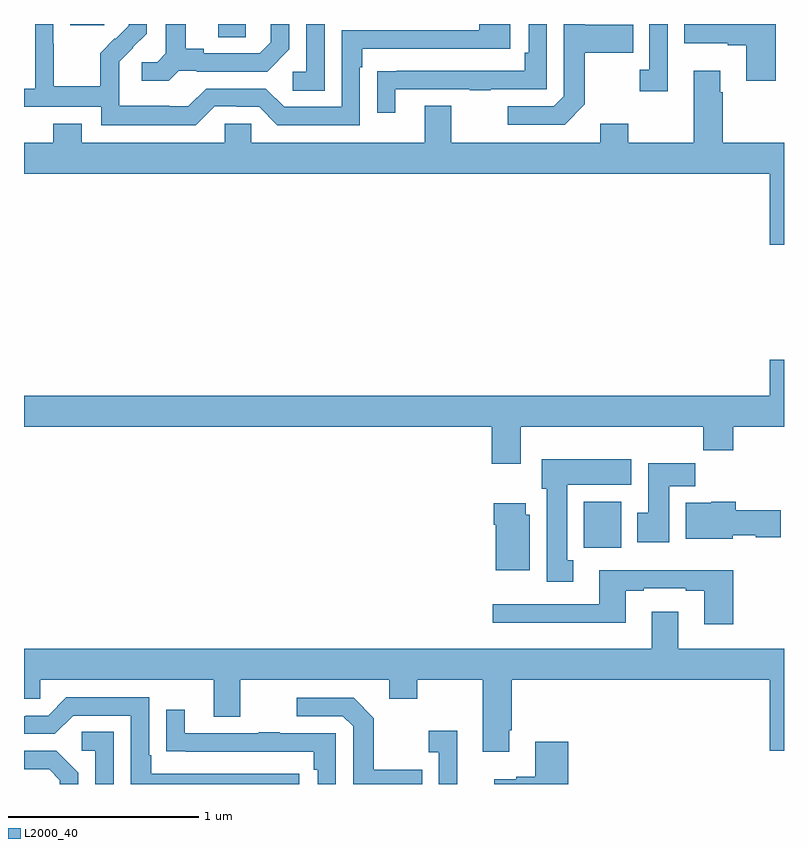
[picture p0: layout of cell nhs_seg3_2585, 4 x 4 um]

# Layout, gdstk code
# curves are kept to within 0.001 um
import gdstk
lib = gdstk.Library(unit=1e-6, precision=1e-09)
def R(c, l, rs):  # rectangles x0, y0, x1, y1
    for r in rs: c.add(gdstk.rectangle(r[:2], r[2:], *l))
def P(c, l, *ps):  # polygons
    for p in ps: c.add(gdstk.Polygon(p, *l))
L2000_40 = (2000, 40)

nhs_seg3_2585 = lib.new_cell('nhs_seg3_2585')
R(nhs_seg3_2585, L2000_40, [(247.946,669.644,248.143,669.886), (246.023,672.331,246.168,672.4), (245.243,672.393,245.422,672.4)])
P(nhs_seg3_2585, L2000_40, [(248.956,672.4),(248.475,672.4),(248.475,672.299),(248.705,672.299),(248.705,672.287),(248.801,672.287),(248.801,672.102),(248.956,672.102)],
  [(248.388,672.4),(248.292,672.4),(248.292,672.158),(248.241,672.158),(248.241,672.045),(248.388,672.045)],
  [(247.951,671.977),(247.951,672.25),(248.207,672.25),(248.207,672.397),(247.951,672.397),(247.951,672.4),(247.842,672.4),(247.842,672.021),(247.788,671.967),(247.545,671.967),(247.545,671.871),(247.845,671.871)],
  [(246.955,672.057),(247.345,672.057),(247.345,672.052),(247.457,672.052),(247.457,672.057),(247.752,672.057),(247.752,672.4),(247.656,672.4),(247.656,672.25),(247.636,672.25),(247.636,672.153),(246.961,672.153),(246.961,672.152),(246.859,672.152),(246.859,671.934),(246.955,671.934)],
  [(245.814,672.153),(245.908,672.153),(245.908,672.15),(246.28,672.15),(246.396,672.266),(246.396,672.4),(246.299,672.4),(246.299,672.303),(246.242,672.246),(245.947,672.246),(245.947,672.269),(245.851,672.269),(245.851,672.4),(245.747,672.4),(245.747,672.245),(245.7,672.198),(245.619,672.198),(245.619,672.101),(245.762,672.101)],
  [(246.003,671.967),(246.119,671.967),(246.119,671.964),(246.237,671.964),(246.333,671.868),(246.768,671.868),(246.768,672.173),(246.781,672.173),(246.781,672.27),(247.558,672.27),(247.558,672.4),(247.397,672.4),(247.397,672.366),(246.672,672.366),(246.672,671.964),(246.369,671.964),(246.273,672.06),(245.958,672.06),(245.865,671.967),(245.765,671.967),(245.765,671.971),(245.502,671.971),(245.502,672.105),(245.5,672.105),(245.5,672.202),(245.646,672.35),(245.646,672.4),(245.552,672.4),(245.552,672.392),(245.481,672.321),(245.478,672.324),(245.401,672.247),(245.401,672.073),(245.157,672.073),(245.157,672.296),(245.154,672.296),(245.154,672.4),(245.058,672.4),(245.058,672.06),(245,672.06),(245,671.964),(245.406,671.964),(245.406,671.867),(245.903,671.867)],
  [(246.582,672.4),(246.486,672.4),(246.486,672.15),(246.414,672.15),(246.414,672.049),(246.582,672.049)],
  [(249,671.776),(248.678,671.776),(248.678,672.041),(248.665,672.041),(248.665,672.154),(248.525,672.154),(248.525,671.776),(248.181,671.776),(248.181,671.875),(248.033,671.875),(248.033,671.776),(247.249,671.776),(247.249,671.971),(247.109,671.971),(247.109,671.776),(246.195,671.776),(246.195,671.874),(246.057,671.874),(246.057,671.776),(245.305,671.776),(245.305,671.875),(245.153,671.875),(245.153,671.776),(245,671.776),(245,671.612),(248.924,671.612),(248.924,671.238),(249,671.238)],
  [(245,670.28),(247.463,670.28),(247.463,670.086),(247.615,670.086),(247.615,670.28),(248.575,670.28),(248.575,670.156),(248.732,670.156),(248.732,670.28),(249,670.28),(249,670.633),(248.924,670.633),(248.924,670.444),(245,670.444)],
  [(247.891,669.578),(247.858,669.578),(247.858,669.974),(248.197,669.974),(248.197,670.108),(247.724,670.108),(247.724,669.954),(247.751,669.954),(247.751,669.465),(247.891,669.465)],
  [(248.395,669.968),(248.534,669.968),(248.534,670.087),(248.285,670.087),(248.285,669.828),(248.228,669.828),(248.228,669.672),(248.395,669.672)],
  [(248.73,669.71),(248.85,669.71),(248.85,669.698),(248.983,669.698),(248.983,669.84),(248.747,669.84),(248.747,669.886),(248.616,669.886),(248.616,669.88),(248.483,669.88),(248.483,669.692),(248.73,669.692)],
  [(247.663,669.816),(247.642,669.816),(247.642,669.877),(247.472,669.877),(247.472,669.764),(247.484,669.764),(247.484,669.524),(247.663,669.524)],
  [(248.732,669.526),(248.027,669.526),(248.027,669.345),(247.467,669.345),(247.467,669.248),(248.167,669.248),(248.167,669.417),(248.263,669.417),(248.263,669.429),(248.483,669.429),(248.483,669.417),(248.579,669.417),(248.579,669.24),(248.732,669.24)],
  [(245,668.85),(245.085,668.85),(245.085,668.948),(245.999,668.948),(245.999,668.754),(246.139,668.754),(246.139,668.948),(246.923,668.948),(246.923,668.849),(247.071,668.849),(247.071,668.948),(247.415,668.948),(247.415,668.571),(247.555,668.571),(247.555,668.683),(247.568,668.683),(247.568,668.948),(248.924,668.948),(248.924,668.574),(249,668.574),(249,669.112),(248.443,669.112),(248.443,669.307),(248.303,669.307),(248.303,669.112),(245,669.112)],
  [(246.448,668.454),(245.671,668.454),(245.671,668.551),(245.658,668.551),(245.658,668.856),(245.223,668.856),(245.127,668.76),(245.009,668.76),(245.009,668.757),(245,668.757),(245,668.664),(245.163,668.664),(245.259,668.76),(245.562,668.76),(245.562,668.4),(246.448,668.4)],
  [(247.097,668.475),(246.841,668.475),(246.841,668.747),(246.735,668.853),(246.435,668.853),(246.435,668.757),(246.678,668.757),(246.732,668.703),(246.732,668.4),(247.097,668.4)],
  [(246.642,668.667),(246.347,668.667),(246.347,668.672),(246.235,668.672),(246.235,668.667),(245.845,668.667),(245.845,668.791),(245.749,668.791),(245.749,668.572),(245.851,668.572),(245.851,668.571),(246.526,668.571),(246.526,668.474),(246.546,668.474),(246.546,668.4),(246.642,668.4)],
  [(247.28,668.68),(247.131,668.68),(247.131,668.567),(247.182,668.567),(247.182,668.4),(247.28,668.4)],
  [(245.472,668.675),(245.304,668.675),(245.304,668.574),(245.376,668.574),(245.376,668.4),(245.472,668.4)],
  [(247.864,668.623),(247.691,668.623),(247.691,668.438),(247.592,668.438),(247.592,668.425),(247.476,668.425),(247.476,668.4),(247.864,668.4)],
  [(245.286,668.458),(245.17,668.574),(245,668.574),(245,668.478),(245.132,668.478),(245.189,668.421),(245.189,668.4),(245.286,668.4)])

lib.write_gds('nhs_seg3_2585.gds')
